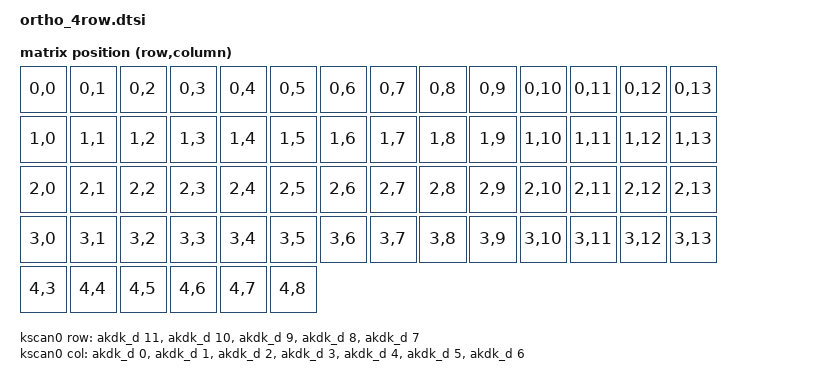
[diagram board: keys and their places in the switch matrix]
#include <dt-bindings/zmk/keys.h>
#include <dt-bindings/zmk/bt.h>
#include <dt-bindings/zmk/outputs.h>
#include <dt-bindings/zmk/mouse.h>
#include <physical_layouts.dtsi>

/ {
    // kscan 定義 (左右共通の配線を想定。実際のピンはあなたの回路図に合わせて修正)
    kscan0: kscan {
        compatible = "zmk,kscan-gpio-matrix";
        wakeup-source;
        diode-direction = "col2row";
        // ↓ 以下の行は元の ortho_4row_right.overlay の内容をコピー
        row-gpios = <&akdk_d 11 (GPIO_ACTIVE_HIGH | GPIO_PULL_DOWN)>
                  , <&akdk_d 10 (GPIO_ACTIVE_HIGH | GPIO_PULL_DOWN)>
                  , <&akdk_d 9 (GPIO_ACTIVE_HIGH | GPIO_PULL_DOWN)>
                  , <&akdk_d 8 (GPIO_ACTIVE_HIGH | GPIO_PULL_DOWN)>
                  , <&akdk_d 7 (GPIO_ACTIVE_HIGH | GPIO_PULL_DOWN)>;
        col-gpios = <&akdk_d 0 (GPIO_ACTIVE_HIGH | GPIO_PULL_DOWN)>
                  , <&akdk_d 1 (GPIO_ACTIVE_HIGH | GPIO_PULL_DOWN)>
                  , <&akdk_d 2 (GPIO_ACTIVE_HIGH | GPIO_PULL_DOWN)>
                  , <&akdk_d 3 (GPIO_ACTIVE_HIGH | GPIO_PULL_DOWN)>
                  , <&akdk_d 4 (GPIO_ACTIVE_HIGH | GPIO_PULL_DOWN)>
                  , <&akdk_d 5 (GPIO_ACTIVE_HIGH | GPIO_PULL_DOWN)>
                  , <&akdk_d 6 (GPIO_ACTIVE_HIGH | GPIO_PULL_DOWN)>;
    };

    // マトリックスの変換 (14列 x 5行)
    default_transform: keymap_transform_0 {
        compatible = "zmk,matrix-transform";
        columns = <14>;
        rows = <5>;
        map = <
            RC(0,0) RC(0,1) RC(0,2) RC(0,3) RC(0,4) RC(0,5) RC(0,6) RC(0,7) RC(0,8) RC(0,9) RC(0,10) RC(0,11) RC(0,12) RC(0,13)
            RC(1,0) RC(1,1) RC(1,2) RC(1,3) RC(1,4) RC(1,5) RC(1,6) RC(1,7) RC(1,8) RC(1,9) RC(1,10) RC(1,11) RC(1,12) RC(1,13)
            RC(2,0) RC(2,1) RC(2,2) RC(2,3) RC(2,4) RC(2,5) RC(2,6) RC(2,7) RC(2,8) RC(2,9) RC(2,10) RC(2,11) RC(2,12) RC(2,13)
            RC(3,0) RC(3,1) RC(3,2) RC(3,3) RC(3,4) RC(3,5) RC(3,6) RC(3,7) RC(3,8) RC(3,9) RC(3,10) RC(3,11) RC(3,12) RC(3,13)
            RC(4,3) RC(4,4) RC(4,5) RC(4,6) RC(4,7) RC(4,8)
        >;
        // 左右分割のオフセットは以下の行で設定。右側は col-offset = <7>;
        // ここでは左側用に <0> を指定。右側は別の .dtsi で上書きする
        col-offset = <0>;
    };

    // 物理レイアウト (layouts.dtsi の内容をこちらに統合しても良い)
    ortho_4row_physical_layout: ortho_4row_physical_layout {
        compatible = "zmk,physical-layout";
        display-name = "Ortho 4row Layout";
        transform = <&default_transform>;
        kscan = <&kscan0>;
        keys = 
            <&key_physical_attrs 100 100    0   12       0     0    12>
            , <&key_physical_attrs 100 100  100   12       0   100    12>
            /* ... 以下、あなたが keymap.keymap に書いた全てのキー定義 ... */
            ;
    };

    chosen {
        zmk,kscan = &kscan0;
        zmk,physical-layout = &ortho_4row_physical_layout;
    };
};
